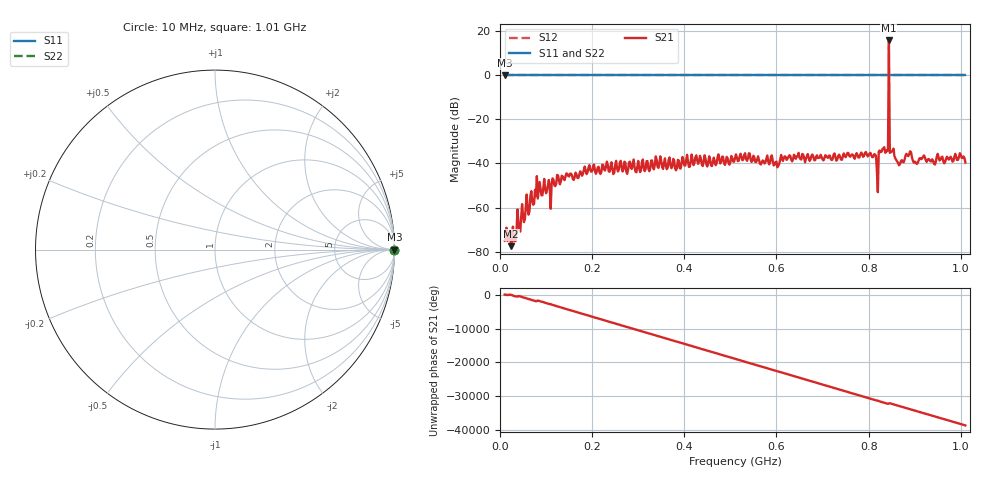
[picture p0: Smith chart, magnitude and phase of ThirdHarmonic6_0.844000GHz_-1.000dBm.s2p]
! 8/16/2025 3:58:22 AM
! C:\ANRITSUVNA\TEMP\TEMP.S2P
! CHANNEL.1
! TR.MEASUREMENT
! RAW.DATA
! RF.CORRECTION.OFF
! AVERAGING.OFF
! IF.BANDWIDTH: 5KHZ
! SWEEPTYPE:  FREQ.SWEEP(Linear)
! Reference Plane Port Info
! PORT:  PORT1  PORT2
! DISTANCE:  0  m  0  m
! TIME:  0  s  0  s
! PHASE.OFFSET:  0  deg.  0  deg.
! LOSS:  0  dB  0  dB
! REF.LOSS:  0  dB  0  dB
! REF.FREQ:  0  Hz  0  Hz
! Power Info
! POWER:  -20  dBm  -20  dBm
! EFF.POWER:  -20  dBm  -20  dBm
! SOURCE.ATTEN:  0  dB  0  dB
! TEST.ATTEN:  0  dB  0  dB
# GHZ S RI R 50.0
! FREQ.GHZ  S11RE  S11IM  S21RE  S21IM  S12RE  S12IM  S22RE  S22IM
!; PortSelection: Port_12
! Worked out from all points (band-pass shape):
!   501 points, 10 MHz to 1.01 GHz, reference 50 ohm
!   highest |S21| = 15.75 dB at 844 MHz (marker M1); lowest = -77.5 dB at 24 MHz (marker M2)
!   |S21| within 3 dB of the highest: 843.8797 MHz to 844.1178 MHz (238.1 kHz wide, 0.0282 % of centre)
!   lowest |S11| = 0.0 dB at 10 MHz (marker M3)
!   |S11| at or under -10 dB: nowhere
!   |S22| runs from 0.0 to 0.0 dB; largest |S21 - S12| = 6.9
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0.01  1 0  5.12e-05 0.000171  1 0  1 0
0.024  1 0  6.89e-05 -0.000115  1 0  1 0
0.084  1 0  0.0011 0.00224  1 0  1 0
0.106  1 0  -0.00354 -0.00232  1 0  1 0
0.178  1 0  -0.00526 -0.000382  1 0  1 0
0.344  1 0  0.00746 -0.00272  1 0  1 0
0.51  1 0  -0.012 0.00554  1 0  1 0
0.678  1 0  -0.0118 -0.0107  1 0  1 0
0.796  1 0  -0.0138 0.00869  1 0  1 0
0.812  1 0  -0.00907 -0.0134  1 0  1 0
0.816  1 0  0.00692 0.0131  1 0  1 0
0.822  1 0  -0.0181 -0.00517  1 0  1 0
0.826  1 0  0.0156 0.00904  1 0  1 0
0.838  1 0  -0.00295 -0.0179  1 0  1 0
0.84  1 0  -0.0201 -0.000744  1 0  1 0
0.844  1 0  -4.184 -4.479  1 0  1 0
0.848  1 0  -0.0162 -0.00757  1 0  1 0
0.85  1 0  -0.0103 0.0155  1 0  1 0
0.866  1 0  -0.00842 -0.00342  1 0  1 0
0.888  1 0  0.0101 0.0128  1 0  1 0
0.902  1 0  -0.00989 -0.00356  1 0  1 0
1.01  1 0  -0.0105 0.000194  1 0  1 0
